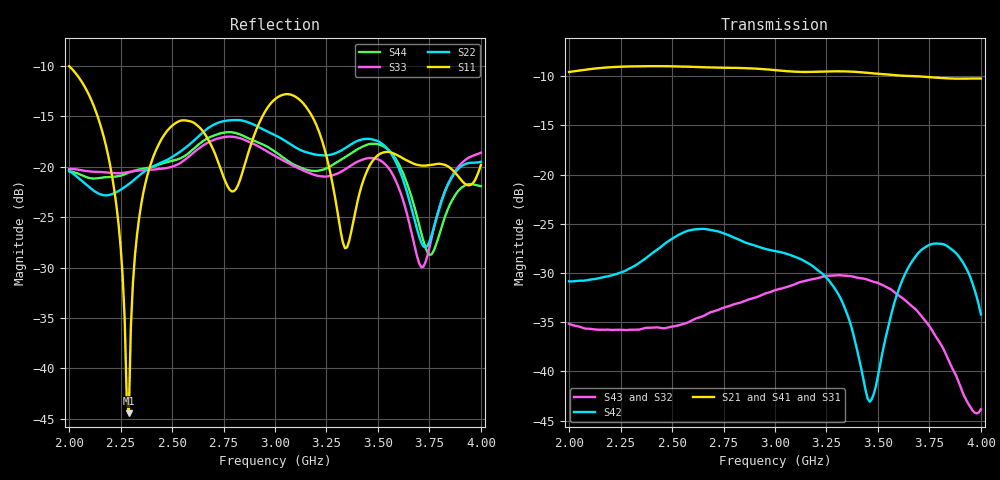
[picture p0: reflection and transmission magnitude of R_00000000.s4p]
!Agilent Technologies,N5224A,MY51441093,A.09.90.21
!Agilent N5224A: A.09.90.21
!Date: Friday, December 19, 2025 16:44:06
!Correction: S11(Full 4 Port(1,2,3,4))
!S12(Full 4 Port(1,2,3,4))
!S13(Full 4 Port(1,2,3,4))
!S14(Full 4 Port(1,2,3,4))
!S21(Full 4 Port(1,2,3,4))
!S22(Full 4 Port(1,2,3,4))
!S23(Full 4 Port(1,2,3,4))
!S24(Full 4 Port(1,2,3,4))
!S31(Full 4 Port(1,2,3,4))
!S32(Full 4 Port(1,2,3,4))
!S33(Full 4 Port(1,2,3,4))
!S34(Full 4 Port(1,2,3,4))
!S41(Full 4 Port(1,2,3,4))
!S42(Full 4 Port(1,2,3,4))
!S43(Full 4 Port(1,2,3,4))
!S44(Full 4 Port(1,2,3,4))
!S4P File: Measurements: <S11,S12,S13,S14>,
!<S21,S22,S23,S24>,
!<S31,S32,S33,S34>,
!<S41,S42,S43,S44>:
# Hz S  dB  R 50
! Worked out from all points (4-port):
!   201 points, 2 GHz to 4 GHz, reference 50 ohm
!   strongest paths, dB at 2 GHz, 2.5 GHz, 3 GHz, 3.5 GHz, 4 GHz:
!     S21: -9.6, -9.0, -9.4, -9.7, -10.2
!     S41: -9.6, -9.0, -9.4, -9.8, -10.3
!     S31: -9.7, -9.2, -9.6, -9.9, -10.5
!     S42: -30.8, -26.5, -27.8, -40.5, -34.2
!     S43: -35.2, -35.4, -31.8, -31.0, -43.8
!     S32: -35.1, -35.6, -31.4, -31.2, -43.5
!   lowest |S11| = -44.4 dB at 2.29 GHz (marker M1), VSWR 1.01, Z = 50.3 + j0.523 ohm
!   |S11| at or under -10 dB: start of sweep to end of sweep
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2e9  -10.01 -47.4  -9.54 -73.5  -9.67 -75.0  -9.72 -74.9
     -9.57 -73.6  -20.37 109.4  -35.05 42.7  -30.97 25.9
     -9.72 -74.9  -35.08 43.0  -20.22 90.3  -35.33 41.9
     -9.61 -74.7  -30.84 26.1  -35.15 41.9  -20.44 100.2
2.21e9  -21.08 -130.2  -9.06 177.2  -9.20 175.6  -9.23 175.8
        -9.07 177.2  -22.69 -12.9  -35.66 -173.7  -30.35 -121.0
        -9.25 175.7  -35.71 -173.7  -20.60 -12.0  -35.95 -175.9
        -9.11 176.0  -30.21 -120.7  -35.78 -175.8  -20.98 -9.5
2.29e9  -44.45 60.1  -8.99 135.8  -9.15 134.1  -9.17 134.3
        -9.01 135.7  -21.71 -56.3  -35.64 105.7  -29.72 -175.9
        -9.21 134.2  -35.69 105.8  -20.51 -47.9  -35.96 103.8
        -9.04 134.4  -29.57 -175.6  -35.76 103.8  -20.58 -46.8
2.35e9  -23.74 7.7  -8.97 104.8  -9.14 103.2  -9.15 103.4
        -8.99 104.8  -20.70 -83.2  -35.63 47.3  -28.97 144.4
        -9.20 103.3  -35.68 47.4  -20.34 -72.0  -35.87 46.5
        -9.02 103.5  -28.82 144.6  -35.69 46.6  -20.22 -70.8
2.51e9  -15.76 -50.8  -8.97 23.1  -9.15 21.6  -9.16 21.6
        -9.00 23.0  -18.90 -131.3  -35.48 -97.4  -26.53 38.6
        -9.22 21.6  -35.54 -97.3  -19.91 -121.9  -35.61 -97.9
        -9.04 21.6  -26.39 38.7  -35.41 -97.9  -19.35 -119.6
2.91e9  -16.28 18.9  -9.19 -177.5  -9.37 -179.0  -9.35 -179.3
        -9.23 -177.5  -15.94 134.9  -32.13 -81.3  -27.39 158.5
        -9.44 -178.8  -32.16 -81.1  -17.86 131.2  -32.61 -83.1
        -9.26 -179.1  -27.26 158.7  -32.45 -83.0  -17.49 134.4
4e9  -19.81 56.9  -10.18 9.1  -10.44 7.0  -10.31 6.1
     -10.23 9.3  -19.49 74.5  -43.47 -43.1  -34.25 37.1
     -10.53 7.6  -43.50 -42.6  -18.59 75.6  -43.94 -51.7
     -10.28 6.8  -34.19 37.5  -43.84 -51.4  -21.91 58.6
